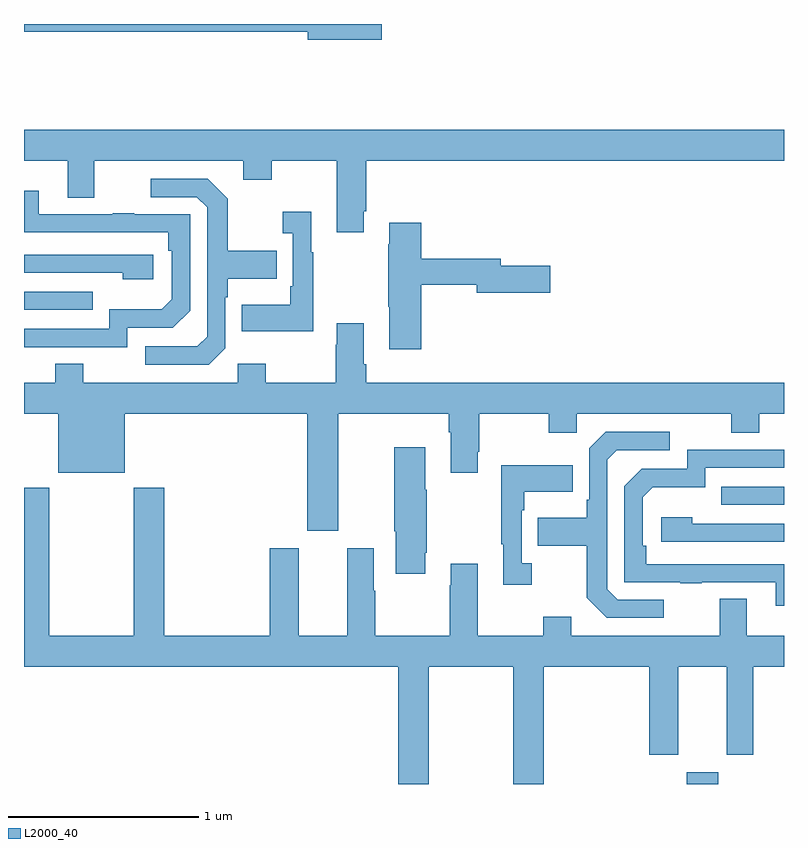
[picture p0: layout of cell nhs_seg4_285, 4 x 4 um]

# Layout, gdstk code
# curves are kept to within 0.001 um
import gdstk
lib = gdstk.Library(unit=1e-6, precision=1e-09)
def R(c, l, rs):  # rectangles x0, y0, x1, y1
    for r in rs: c.add(gdstk.rectangle(r[:2], r[2:], *l))
def P(c, l, *ps):  # polygons
    for p in ps: c.add(gdstk.Polygon(p, *l))
L2000_40 = (2000, 40)

nhs_seg4_285 = lib.new_cell('nhs_seg4_285')
R(nhs_seg4_285, L2000_40, [(128.489,766.9,128.653,766.963), (128.671,768.369,129,768.465), (125,769.395,125.363,769.491)])
P(nhs_seg4_285, L2000_40, [(126.883,770.9),(125,770.9),(125,770.86),(126.494,770.86),(126.494,770.818),(126.883,770.818)],
  [(126.787,769.915),(126.8,769.915),(126.8,770.18),(129,770.18),(129,770.344),(125,770.344),(125,770.18),(125.231,770.18),(125.231,769.986),(125.371,769.986),(125.371,770.18),(126.155,770.18),(126.155,770.081),(126.303,770.081),(126.303,770.18),(126.647,770.18),(126.647,769.803),(126.787,769.803)],
  [(126.06,769.194),(126.06,769.463),(126.073,769.463),(126.073,769.559),(126.329,769.559),(126.329,769.707),(126.073,769.707),(126.073,769.979),(125.967,770.085),(125.667,770.085),(125.667,769.989),(125.91,769.989),(125.964,769.935),(125.964,769.254),(125.913,769.203),(125.637,769.203),(125.637,769.107),(125.973,769.107)],
  [(125.544,769.302),(125.784,769.302),(125.874,769.392),(125.874,769.899),(125.579,769.899),(125.579,769.904),(125.467,769.904),(125.467,769.899),(125.077,769.899),(125.077,770.023),(125,770.023),(125,769.804),(125.758,769.803),(125.758,769.706),(125.778,769.706),(125.778,769.452),(125.725,769.399),(125.448,769.399),(125.448,769.296),(125,769.296),(125,769.2),(125.544,769.2)],
  [(126.523,769.699),(126.511,769.699),(126.511,769.912),(126.363,769.912),(126.363,769.799),(126.414,769.799),(126.414,769.519),(126.402,769.519),(126.402,769.423),(126.145,769.423),(126.145,769.283),(126.523,769.283)],
  [(127.091,769.528),(127.382,769.528),(127.382,769.486),(127.771,769.486),(127.771,769.628),(127.51,769.628),(127.51,769.664),(127.091,769.664),(127.091,769.855),(126.923,769.855),(126.923,769.742),(126.916,769.742),(126.916,769.411),(126.923,769.411),(126.923,769.188),(127.091,769.188)],
  [(125.68,769.686),(125,769.686),(125,769.59),(125.519,769.59),(125.519,769.556),(125.68,769.556)],
  [(126.655,768.848),(127.235,768.848),(127.235,768.752),(127.247,768.752),(127.247,768.537),(127.387,768.537),(127.387,768.649),(127.395,768.649),(127.395,768.848),(127.762,768.848),(127.762,768.749),(127.908,768.749),(127.908,768.848),(128.722,768.848),(128.722,768.749),(128.869,768.749),(128.869,768.848),(129,768.848),(129,769.012),(126.8,769.012),(126.8,769.108),(126.787,769.108),(126.787,769.324),(126.647,769.324),(126.647,769.211),(126.64,769.211),(126.64,769.012),(126.273,769.012),(126.273,769.111),(126.126,769.111),(126.126,769.012),(125.313,769.012),(125.313,769.111),(125.165,769.111),(125.165,769.012),(125,769.012),(125,768.848),(125.18,768.848),(125.18,768.539),(125.53,768.539),(125.53,768.848),(126.491,768.848),(126.491,768.234),(126.655,768.234)],
  [(128.368,767.871),(128.124,767.871),(128.07,767.925),(128.07,768.606),(128.121,768.657),(128.398,768.657),(128.398,768.753),(128.061,768.753),(127.974,768.666),(127.974,768.397),(127.962,768.397),(127.962,768.301),(127.705,768.301),(127.705,768.154),(127.962,768.154),(127.962,767.881),(128.067,767.775),(128.368,767.775)],
  [(127.111,768.118),(127.119,768.118),(127.119,768.449),(127.111,768.449),(127.111,768.673),(126.949,768.673),(126.949,768.229),(126.956,768.229),(126.956,768.006),(127.111,768.006)],
  [(129,768.056),(128.276,768.057),(128.276,768.154),(128.256,768.154),(128.256,768.408),(128.309,768.461),(128.586,768.461),(128.586,768.564),(129,768.564),(129,768.66),(128.49,768.66),(128.49,768.558),(128.25,768.558),(128.16,768.468),(128.16,767.961),(128.455,767.961),(128.455,767.956),(128.567,767.956),(128.567,767.961),(128.957,767.961),(128.957,767.838),(129,767.838)],
  [(127.672,768.062),(127.62,768.062),(127.62,768.341),(127.633,768.341),(127.633,768.437),(127.889,768.437),(127.889,768.577),(127.512,768.577),(127.512,768.161),(127.523,768.161),(127.523,767.949),(127.672,767.949)],
  [(127.131,767.516),(127.576,767.516),(127.576,766.9),(127.736,766.9),(127.736,767.516),(128.291,767.516),(128.291,767.055),(128.443,767.055),(128.443,767.516),(128.699,767.516),(128.699,767.055),(128.839,767.055),(128.839,767.516),(129,767.516),(129,767.68),(128.803,767.68),(128.803,767.875),(128.663,767.875),(128.663,767.68),(127.879,767.68),(127.879,767.779),(127.732,767.779),(127.732,767.68),(127.387,767.68),(127.387,768.058),(127.247,768.058),(127.247,767.945),(127.24,767.945),(127.24,767.68),(126.849,767.68),(126.849,767.918),(126.841,767.918),(126.841,768.142),(126.701,768.142),(126.701,767.68),(126.445,767.68),(126.445,768.142),(126.293,768.142),(126.293,767.68),(125.738,767.68),(125.738,768.46),(125.578,768.46),(125.578,767.68),(125.133,767.68),(125.133,768.46),(125,768.46),(125,767.516),(126.971,767.516),(126.971,766.9),(127.131,766.9)],
  [(129,768.27),(128.516,768.27),(128.516,768.304),(128.355,768.304),(128.355,768.174),(129,768.174)])

lib.write_gds('nhs_seg4_285.gds')
